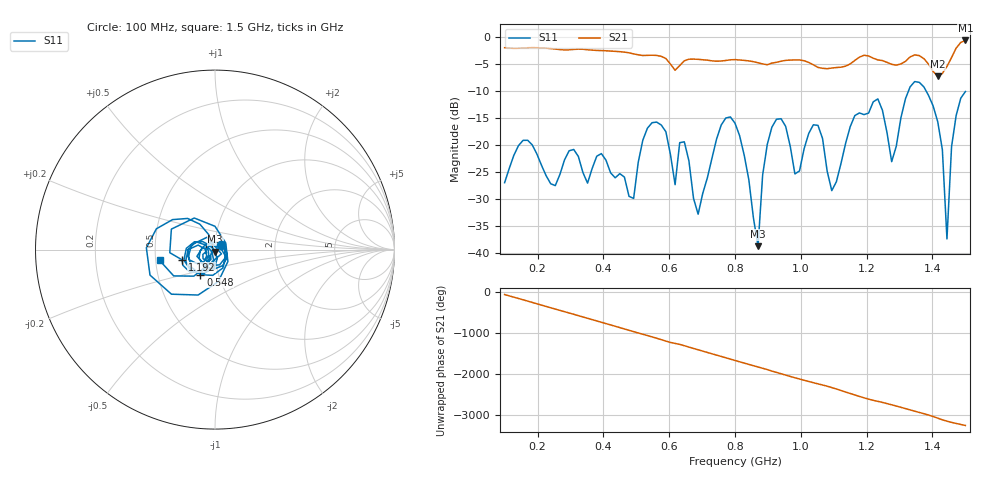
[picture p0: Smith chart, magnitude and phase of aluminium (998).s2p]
! NanoVNA-App
! Date: 2025-09-25 15:03:03
! Start: 100MHz Stop: 1,5GHz Points: 101
! S-Parameter data: F S11 S21 S12 S22
# Hz S RI R 50
!  Frequency  S11_Real  S11_Imag  S21_Real  S21_Imag  S12_Real  S12_Imag  S22_Real  S22_Imag
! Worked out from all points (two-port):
!   101 points, 100 MHz to 1.5 GHz, reference 50 ohm
!   highest |S21| = -0.58 dB at 1.5 GHz (marker M1); lowest = -7.2 dB at 1.416 GHz (marker M2)
!   |S21| within 3 dB of the highest: start of sweep to 577.8 MHz; 1.459 GHz to end of sweep (the widest 2 of 4)
!   lowest |S11| = -38.7 dB at 870 MHz (marker M3), VSWR 1.02, Z = 50.1 - j1.15 ohm
!   |S11| at or under -10 dB: start of sweep to 1.327 GHz; 1.381 GHz to end of sweep
!   S12 and S22 are empty: the file has one direction only
!   S11 on the Smith chart (normalised r, x): 100 MHz: 1.07, +0.06; 548 MHz: 0.82, -0.23; 1.192 GHz: 0.69, -0.08; 1.5 GHz: 0.53, -0.07
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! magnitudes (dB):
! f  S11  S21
! 100 MHz  -27.0  -1.9
! 156 MHz  -19.1  -2.0
! 338 MHz  -25.1  -2.2
! 492 MHz  -29.9  -3.1
! 548 MHz  -15.8  -3.3
! 576 MHz  -16.3  -3.5
! 646 MHz  -19.4  -4.3
! 688 MHz  -32.8  -4.1
! 800 MHz  -15.9  -4.1
! 870 MHz  -38.7  -4.7
! 912 MHz  -16.7  -4.8
! 982 MHz  -25.3  -4.2
! 1.038 GHz  -16.2  -5.1
! 1.094 GHz  -28.4  -5.7
! 1.192 GHz  -14.3  -3.3
! 1.234 GHz  -11.4  -4.2
! 1.276 GHz  -23.1  -5.0
! 1.346 GHz  -8.2  -3.3
! 1.416 GHz  -15.7  -7.2
! 1.444 GHz  -37.4  -5.4
! 1.458 GHz  -20.3  -3.7
! 1.5 GHz  -10.1  -0.6
